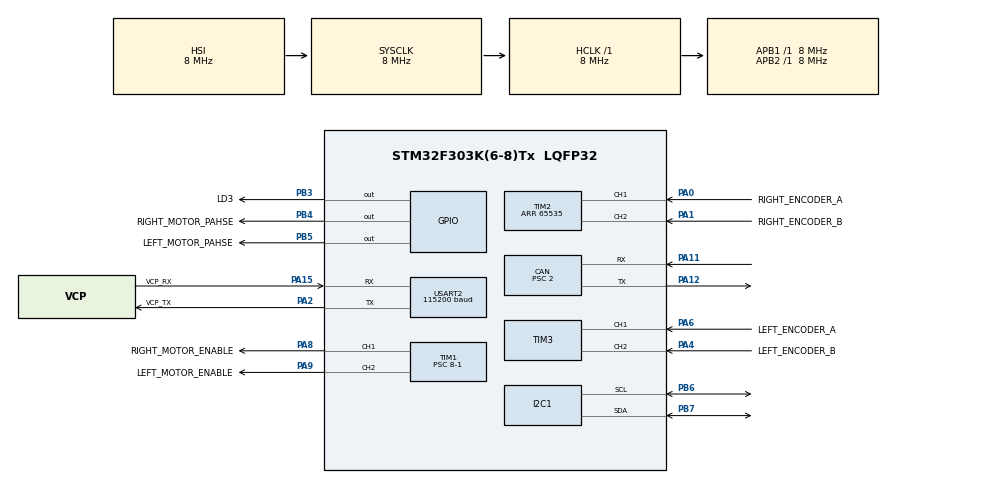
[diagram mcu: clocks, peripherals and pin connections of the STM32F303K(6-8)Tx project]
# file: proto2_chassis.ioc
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CAN.BS1=CAN_BS1_7TQ
CAN.BS2=CAN_BS2_2TQ
CAN.CalculateBaudRate=400000
CAN.CalculateTimeBit=2500
CAN.CalculateTimeQuantum=250.0
CAN.Prescaler=2
I2C1.I2C_Fall_Time=0
I2C1.I2C_Rise_Time=0
Mcu.Family=STM32F3
Mcu.Name=STM32F303K(6-8)Tx
Mcu.Package=LQFP32
NVIC.CAN_RX0_IRQn=true\:0\:0\:false\:false\:true\:true\:true\:true
NVIC.PriorityGroup=NVIC_PRIORITYGROUP_4
NVIC.TIM1_BRK_TIM15_IRQn=true\:0\:0\:false\:false\:true\:true\:true\:true
PA0.GPIO_Label=RIGHT_ENCODER_A
PA0.Signal=S_TIM2_CH1_ETR
PA1.GPIO_Label=RIGHT_ENCODER_B
PA1.Signal=S_TIM2_CH2
PA11.Mode=CAN_Activate
PA11.Signal=CAN_RX
PA12.Mode=CAN_Activate
PA12.Signal=CAN_TX
PA13.GPIO_Label=SWDIO
PA13.Mode=Serial_Wire
PA13.Signal=SYS_JTMS-SWDIO
PA14.GPIO_Label=SWCLK
PA14.Mode=Serial_Wire
PA14.Signal=SYS_JTCK-SWCLK
PA15.GPIO_Label=VCP_RX
PA15.Mode=Asynchronous
PA15.Signal=USART2_RX
PA2.GPIO_Label=VCP_TX
PA2.Mode=Asynchronous
PA2.Signal=USART2_TX
PA4.GPIO_Label=LEFT_ENCODER_B
PA4.Signal=S_TIM3_CH2
PA6.GPIO_Label=LEFT_ENCODER_A
PA6.Signal=S_TIM3_CH1
PA8.GPIO_Label=RIGHT_MOTOR_ENABLE
PA8.Signal=S_TIM1_CH1
PA9.GPIO_Label=LEFT_MOTOR_ENABLE
PA9.Signal=S_TIM1_CH2
PB3.GPIO_Label=LD3
PB3.Signal=GPIO_Output
PB4.GPIO_Label=RIGHT_MOTOR_PAHSE
PB4.Signal=GPIO_Output
PB5.GPIO_Label=LEFT_MOTOR_PAHSE
PB5.Signal=GPIO_Output
PB6.Mode=I2C
PB6.Signal=I2C1_SCL
PB7.Mode=I2C
PB7.Signal=I2C1_SDA
PF0\ /\ OSC_IN.GPIO_Label=MCO
PF0\ /\ OSC_IN.Mode=HSE-External-Clock-Source
PF0\ /\ OSC_IN.Signal=RCC_OSC_IN
ProjectManager.HeapSize=0x200
ProjectManager.StackSize=0x400
ProjectManager.TargetToolchain=STM32CubeIDE
RCC.AHBFreq_Value=8000000
RCC.APB1Freq_Value=8000000
RCC.APB2Freq_Value=8000000
RCC.CortexFreq_Value=8000000
RCC.HSE_VALUE=8000000
RCC.HSI_VALUE=8000000
RCC.SYSCLKFreq_VALUE=8000000
SH.S_TIM1_CH1.0=TIM1_CH1,PWM Generation1 CH1
SH.S_TIM1_CH2.0=TIM1_CH2,PWM Generation2 CH2
SH.S_TIM2_CH1_ETR.0=TIM2_CH1,Encoder_Interface
SH.S_TIM2_CH2.0=TIM2_CH2,Encoder_Interface
SH.S_TIM3_CH1.0=TIM3_CH1,Encoder_Interface
SH.S_TIM3_CH2.0=TIM3_CH2,Encoder_Interface
TIM1.Channel-PWM\ Generation1\ CH1=TIM_CHANNEL_1
TIM1.Channel-PWM\ Generation2\ CH2=TIM_CHANNEL_2
TIM1.Period=1000-1
TIM1.Prescaler=8-1
TIM15.Period=1000-1
TIM15.Prescaler=8-1
TIM2.EncoderMode=TIM_ENCODERMODE_TI12
TIM2.Period=65535
TIM3.EncoderMode=TIM_ENCODERMODE_TI12
USART2.BaudRate=115200
USART2.VirtualMode-Asynchronous=VM_ASYNC
VP_TIM15_VS_ClockSourceINT.Mode=Internal
board=NUCLEO-F303K8

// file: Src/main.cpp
/* USER CODE BEGIN Header */
/**
  ******************************************************************************
  * @file           : main.c
  * @brief          : Main program body
  ******************************************************************************
  * @attention
  *
  * Copyright (c) 2025 STMicroelectronics.
  * All rights reserved.
  *
  * This software is licensed under terms that can be found in the LICENSE file
  * in the root directory of this software component.
  * If no LICENSE file comes with this software, it is provided AS-IS.
  *
  ******************************************************************************
  */
/* USER CODE END Header */
#include "main.h"
#include "can.h"
#include "i2c.h"
#include "tim.h"
#include "usart.h"
#include "gpio.h"

/* USER CODE BEGIN Includes */
#include "rabcl/utils/type.hpp"
#include "rabcl/interface/can.hpp"
#include "rabcl/component/jga25_370.hpp"
#include "rabcl/controller/omni_drive.hpp"

#include <stdio.h>
#include <string.h>
/* USER CODE END Includes */

/* USER CODE BEGIN PV */
uint16_t control_count = 0;
char printf_buf[100];

rabcl::Info robot_data;
rabcl::JGA25_370* right_motor;
rabcl::JGA25_370* left_motor;
rabcl::OmniDrive omni_drive(0.06, 0.28);

/* USER CODE END PV */

void SystemClock_Config(void);

/* USER CODE BEGIN 0 */
int16_t read_tim2_encoder_value()
{
  uint16_t enc_buff = TIM2->CNT;
  int16_t enc_count = (int16_t)enc_buff - 32767;
  TIM2->CNT = 32767;
  return enc_count;
}

int16_t read_tim3_encoder_value()
{
  uint16_t enc_buff = TIM3->CNT;
  int16_t enc_count = (int16_t)enc_buff - 32767;
  TIM3->CNT = 32767;
  return enc_count;
}

void HAL_TIM_PeriodElapsedCallback(TIM_HandleTypeDef *htim)
{
  if (htim == &htim15)
  {
    control_count++;
    if (control_count >= 10) // 100Hz
    {
      control_count = 0;
      double chassis_vel[4];
      omni_drive.CalcVel(
        robot_data.chassis_vel_x_, robot_data.chassis_vel_y_, robot_data.chassis_vel_z_,
        chassis_vel[0], chassis_vel[1], chassis_vel[2], chassis_vel[3]);
      right_motor->SetCmdVel(chassis_vel[2]);
      left_motor->SetCmdVel(chassis_vel[3]);

      int16_t output;

      // ---right motor
      right_motor->SetEncoderCount(read_tim2_encoder_value());
      right_motor->UpdataEncoder();
      // snprintf(printf_buf, 100, "right_act_vel: %f[rad/s]\n", right_motor->GetActVel());
      // HAL_UART_Transmit(&huart2, (uint8_t*)printf_buf, strlen(printf_buf), 1000);
      // snprintf(printf_buf, 100, "right_act_pos: %f[rad], %f[deg]\n", right_motor->GetActPos(), right_motor->GetActPos() * 57.295779513);
      // HAL_UART_Transmit(&huart2, (uint8_t*)printf_buf, strlen(printf_buf), 1000);

      output = right_motor->CalcMotorOutput();
      // snprintf(printf_buf, 100, "right_output: %d[count]\n", output);
      // HAL_UART_Transmit(&huart2, (uint8_t*)printf_buf, strlen(printf_buf), 1000);
      if (output > 0)
      {
        HAL_GPIO_WritePin(RIGHT_MOTOR_PAHSE_GPIO_Port, RIGHT_MOTOR_PAHSE_Pin, GPIO_PIN_SET);
      }
      else
      {
        output *= -1;
        HAL_GPIO_WritePin(RIGHT_MOTOR_PAHSE_GPIO_Port, RIGHT_MOTOR_PAHSE_Pin, GPIO_PIN_RESET);
      }

      __HAL_TIM_SET_COMPARE(&htim1, TIM_CHANNEL_1, (uint16_t)output);
      // snprintf(printf_buf, 100, "right_cmd_vel: %f[rad/s]\n", right_motor->GetCmdVel());
      // HAL_UART_Transmit(&huart2, (uint8_t*)printf_buf, strlen(printf_buf), 1000);

      // ---left motor
      left_motor->SetEncoderCount(read_tim3_encoder_value());
      left_motor->UpdataEncoder();
      // snprintf(printf_buf, 100, "left_act_vel: %f[rad/s]\n", left_motor->GetActVel());
      // HAL_UART_Transmit(&huart2, (uint8_t*)printf_buf, strlen(printf_buf), 1000);
      // snprintf(printf_buf, 100, "left_act_pos: %f[rad], %f[deg]\n", left_motor->GetActPos(), left_motor->GetActPos() * 57.295779513);
      // HAL_UART_Transmit(&huart2, (uint8_t*)printf_buf, strlen(printf_buf), 1000);

      output = left_motor->CalcMotorOutput();
      // snprintf(printf_buf, 100, "left_output: %d[count]\n", output);
      // HAL_UART_Transmit(&huart2, (uint8_t*)printf_buf, strlen(printf_buf), 1000);
      if (output > 0)
      {
        HAL_GPIO_WritePin(LEFT_MOTOR_PAHSE_GPIO_Port, LEFT_MOTOR_PAHSE_Pin, GPIO_PIN_SET);
      }
      else
      {
        output *= -1;
        HAL_GPIO_WritePin(LEFT_MOTOR_PAHSE_GPIO_Port, LEFT_MOTOR_PAHSE_Pin, GPIO_PIN_RESET);
      }

      __HAL_TIM_SET_COMPARE(&htim1, TIM_CHANNEL_2, (uint16_t)output);
      // snprintf(printf_buf, 100, "left_cmd_vel: %f[rad/s]\n", left_motor->GetCmdVel());
      // HAL_UART_Transmit(&huart2, (uint8_t*)printf_buf, strlen(printf_buf), 1000);
    }
  }
}

void HAL_CAN_RxFifo0MsgPendingCallback(CAN_HandleTypeDef *hcan)
{
  CAN_RxHeaderTypeDef RxHeader;
  uint8_t RxData[8];
  if (HAL_CAN_GetRxMessage(hcan, CAN_RX_FIFO0, &RxHeader, RxData) == HAL_OK)
  {
    if (rabcl::Can::UpdateData(RxHeader.StdId, RxData, robot_data))
    {
      HAL_GPIO_TogglePin(LD3_GPIO_Port, LD3_Pin);
    }
  }
}
/* USER CODE END 0 */

int main(void)
{

  /* USER CODE BEGIN 1 */
  right_motor = new rabcl::JGA25_370(1000 - 1, 34.0);
  left_motor = new rabcl::JGA25_370(1000 - 1, 34.0);

  /* USER CODE END 1 */

  /* MCU Configuration--------------------------------------------------------*/

  /* Reset of all peripherals, Initializes the Flash interface and the Systick. */
  HAL_Init();

  /* Configure the system clock */
  SystemClock_Config();

  /* Initialize all configured peripherals */
  MX_GPIO_Init();
  MX_CAN_Init();
  MX_I2C1_Init();
  MX_TIM1_Init();
  MX_TIM2_Init();
  MX_TIM3_Init();
  MX_TIM15_Init();
  MX_USART2_UART_Init();
  /* USER CODE BEGIN 2 */
  // ---start PWM
  HAL_TIM_PWM_Start(&htim1, TIM_CHANNEL_1);
  HAL_TIM_PWM_Start(&htim1, TIM_CHANNEL_2);

  // ---start interrupt processing
  HAL_TIM_Encoder_Start(&htim2, TIM_CHANNEL_ALL);
  HAL_TIM_Encoder_Start(&htim3, TIM_CHANNEL_ALL);
  HAL_CAN_Start(&hcan);
  if (HAL_CAN_ActivateNotification(&hcan, CAN_IT_RX_FIFO0_MSG_PENDING) != HAL_OK)
  {
    Error_Handler();
  }
  TIM2->CNT = 32767;
  TIM3->CNT = 32767;
  HAL_TIM_Base_Start_IT(&htim15);

  /* USER CODE END 2 */

  /* Infinite loop */
  while (1)
  {

  }
}

void SystemClock_Config(void)
{
  RCC_OscInitTypeDef RCC_OscInitStruct = {0};
  RCC_ClkInitTypeDef RCC_ClkInitStruct = {0};
  RCC_PeriphCLKInitTypeDef PeriphClkInit = {0};

  /** Initializes the RCC Oscillators according to the specified parameters
  * in the RCC_OscInitTypeDef structure.
  */
  RCC_OscInitStruct.OscillatorType = RCC_OSCILLATORTYPE_HSI;
  RCC_OscInitStruct.HSIState = RCC_HSI_ON;
  RCC_OscInitStruct.HSICalibrationValue = RCC_HSICALIBRATION_DEFAULT;
  RCC_OscInitStruct.PLL.PLLState = RCC_PLL_NONE;
  if (HAL_RCC_OscConfig(&RCC_OscInitStruct) != HAL_OK)
  {
    Error_Handler();
  }

  /** Initializes the CPU, AHB and APB buses clocks
  */
  RCC_ClkInitStruct.ClockType = RCC_CLOCKTYPE_HCLK|RCC_CLOCKTYPE_SYSCLK
                              |RCC_CLOCKTYPE_PCLK1|RCC_CLOCKTYPE_PCLK2;
  RCC_ClkInitStruct.SYSCLKSource = RCC_SYSCLKSOURCE_HSI;
  RCC_ClkInitStruct.AHBCLKDivider = RCC_SYSCLK_DIV1;
  RCC_ClkInitStruct.APB1CLKDivider = RCC_HCLK_DIV1;
  RCC_ClkInitStruct.APB2CLKDivider = RCC_HCLK_DIV1;

  if (HAL_RCC_ClockConfig(&RCC_ClkInitStruct, FLASH_LATENCY_0) != HAL_OK)
  {
    Error_Handler();
  }
  PeriphClkInit.PeriphClockSelection = RCC_PERIPHCLK_I2C1|RCC_PERIPHCLK_TIM1;
  PeriphClkInit.I2c1ClockSelection = RCC_I2C1CLKSOURCE_HSI;
  PeriphClkInit.Tim1ClockSelection = RCC_TIM1CLK_HCLK;
  if (HAL_RCCEx_PeriphCLKConfig(&PeriphClkInit) != HAL_OK)
  {
    Error_Handler();
  }
}

void Error_Handler(void)
{
  __disable_irq();
  while (1)
  {
  }
}
